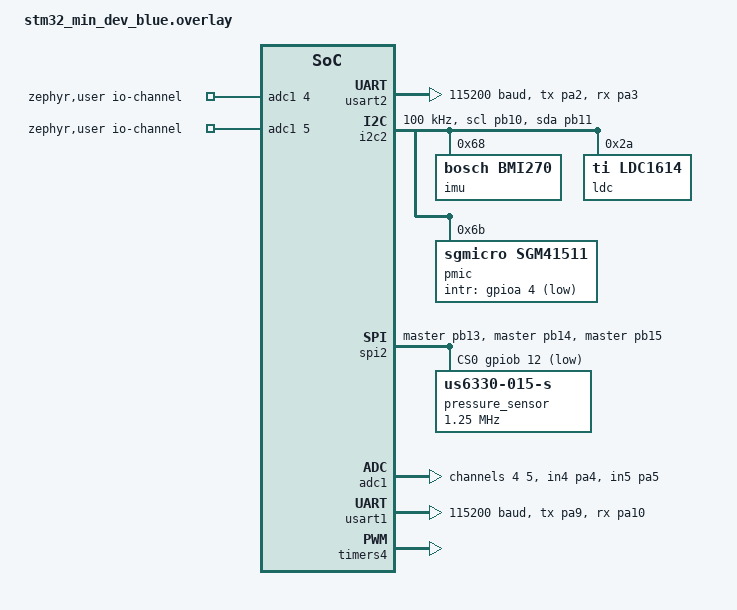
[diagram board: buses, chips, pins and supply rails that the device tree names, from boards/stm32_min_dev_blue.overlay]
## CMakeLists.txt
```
# SPDX-License-Identifier: Apache-2.0

cmake_minimum_required(VERSION 3.20.0)

#set(CMAKE_C_FLAGS "${CMAKE_C_FLAGS} -save-temps=obj")
set(BOARD_ROOT ${CMAKE_CURRENT_LIST_DIR})

find_package(Zephyr REQUIRED HINTS $ENV{ZEPHYR_BASE})
project(FlexPAL)

target_include_directories(app PRIVATE ${ZEPHYR_BASE}/include/zephyr)

target_include_directories(app PRIVATE 
    src/app/sensor
    src/app/uart_handle
    src/app/esp_wifi
    src/lib/imu
    src/lib/pressure_sensor
    src/lib/pump_ctrl
    src/lib/flash_rw
    src/lib/adc
    src/lib/ldc
    src/lib/pid
    src/util/logging
    src/util
)


FILE(GLOB app src/app/*/*.c)
FILE(GLOB lib src/lib/*/*.c)

# target_sources(app PRIVATE ${app})
# target_sources(app PRIVATE ${lib})
target_sources(app PRIVATE src/main.c)
```

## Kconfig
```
mainmenu "main kconfig menu"

config PRESSURE_SENSOR_ADJUST
	int "Pressure sensor adjust value"
	default 100
	help
	  This macro represents the calibration value of the pressure sensor.

rsource "src/dev/sgm41511/Kconfig"
source "Kconfig.zephyr"
```

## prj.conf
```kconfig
# has been enable for defconfig
# CONFIG_CONSOLE=y
# CONFIG_SERIAL=y
# CONFIG_UART_CONSOLE=y
# CONFIG_GPIO=y

CONFIG_PRINTK=y
CONFIG_STDOUT_CONSOLE=y

CONFIG_I2C=y
CONFIG_SENSOR=y
# CONFIG_MPU6050_TRIGGER_NONE=y
CONFIG_CBPRINTF_FP_SUPPORT=y
CONFIG_LM75=y

# CONFIG_SPI=y

CONFIG_PWM=y

# Please manually calibrate the sensor here 
# sensor_real_value = raw_value - sensor_adjust
CONFIG_PRESSURE_SENSOR_ADJUST=0

CONFIG_REBOOT=y

CONFIG_FLASH=y

# CONFIG_ADC=y

CONFIG_ESP32_WIFI_STA_AUTO_DHCPV4=y

# 尽可能早的初始化console，可以打印出boot信息
CONFIG_EARLY_CONSOLE=y

CONFIG_NETWORKING=y
CONFIG_TEST_RANDOM_GENERATOR=y

CONFIG_MAIN_STACK_SIZE=5200
CONFIG_SHELL_STACK_SIZE=5200
CONFIG_NET_TX_STACK_SIZE=2048
CONFIG_NET_RX_STACK_SIZE=2048

CONFIG_NET_PKT_RX_COUNT=10
CONFIG_NET_PKT_TX_COUNT=10
CONFIG_NET_BUF_RX_COUNT=20
CONFIG_NET_BUF_TX_COUNT=20
CONFIG_NET_MAX_CONTEXTS=10
CONFIG_NET_DHCPV4=y

CONFIG_NET_IPV4=y
CONFIG_NET_IPV6=n

CONFIG_NET_TCP=y

CONFIG_LOG=y

CONFIG_NET_LOG=y
CONFIG_INIT_STACKS=y

CONFIG_KERNEL_SHELL=y
CONFIG_NET_SHELL=y
CONFIG_I2C_SHELL=y

# 启用网络统计信息收集
# CONFIG_NET_STATISTICS=y
# CONFIG_NET_STATISTICS_PERIODIC_OUTPUT=n

CONFIG_WIFI=y
CONFIG_WIFI_LOG_LEVEL_ERR=y
CONFIG_NET_L2_WIFI_SHELL=y
# printing of scan results puts pressure on queues in new locking
# design in net_mgmt. So, use a higher timeout for a crowded
# environment.
# Timeout for event queue
CONFIG_NET_MGMT_EVENT_QUEUE_TIMEOUT=5000
CONFIG_NET_MGMT_EVENT_QUEUE_SIZE=16
```

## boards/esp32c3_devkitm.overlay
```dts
/*
 * SPDX-License-Identifier: Apache-2.0
 *
 * Copyright (c) 2021 Andrei-Edward Popa
 * Copyright (c) 2022 Espressif Systems (Shanghai) Co., Ltd.
 */

#include <zephyr/dt-bindings/pwm/pwm.h>
#include <dt-bindings/pinctrl/esp32c3-pinctrl.h>

// gpio2 gpio3 gpio8 gpio9 用于boot启动选择，建议不要使用

/ {
	aliases {
		pwm-led0 = &pwm_led;
	};

	pwmleds {
		compatible = "pwm-leds";
		pwm_led: pwm_led_gpio0_4 {
			label = "PWM LED0";
			pwms = <&ledc0 0 1000 PWM_POLARITY_NORMAL>;
		};
	};
	// esp32的adc不稳，使用i2c adc芯片
	// zephyr,user {
	// 	io-channels = <&adc0 0>, <&adc0 1>;
	// };
};

&pinctrl {
	i2c0_default: i2c0_default {
		group1 {
			pinmux = <I2C0_SDA_GPIO0>,
				 <I2C0_SCL_GPIO1>;
			bias-pull-up;
			drive-open-drain;
			output-high;
		};
	};
	ledc0_default: ledc0_default {
		group1 {
			pinmux = <LEDC_CH0_GPIO4>;
			output-enable;
		};
	};
};

&i2c0 {
	status = "okay";
	clock-frequency = <I2C_BITRATE_STANDARD>; // 100k I2C_BITRATE_FAST (400k)
	pinctrl-0 = <&i2c0_default>;
	pinctrl-names = "default";

};

&ledc0 {
	pinctrl-0 = <&ledc0_default>;
	pinctrl-names = "default";
	status = "okay";
	#address-cells = <1>;
	#size-cells = <0>;
	channel0@0 {
		reg = <0x0>;
		timer = <0>;
	};
};

// &adc0 {
// 	#address-cells = <1>;
// 	#size-cells = <0>;
// 	status = "okay";

// 	channel@0 {
// 		reg = <0>;
// 		zephyr,gain = "ADC_GAIN_1";
// 		zephyr,reference = "ADC_REF_INTERNAL";
// 		zephyr,acquisition-time = <ADC_ACQ_TIME_DEFAULT>;
// 		zephyr,resolution = <12>;
// 	};

// 	channel@1 {
// 		reg = <1>;
// 		zephyr,gain = "ADC_GAIN_1";
// 		zephyr,reference = "ADC_REF_INTERNAL";
// 		zephyr,acquisition-time = <ADC_ACQ_TIME_DEFAULT>;
// 		zephyr,resolution = <12>;
// 	};
// };
```

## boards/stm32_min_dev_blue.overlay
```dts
/ {
	/delete-node/ leds;
	/delete-node/ aliases;
};
&usart2 {
	status = "disabled";
};

&usart3 {
	status = "disabled";
};

&i2c1 {
	status = "disabled";
};

&i2c2 {
	status = "disabled";
};

&spi1 {
	status = "disabled";
};

&spi2 {
	status = "disabled";
};

&timers1 {
	status = "disabled";
};

zephyr_udc0: &usb {
	status = "disabled";
};

&adc1 {
	status = "disabled";
};

/***** 上面均为dtsi中适配的外设，防止GPIO复用重复，全部disable ******/
/ {

	aliases {
		uart1 = &usart1;
		uart2 = &usart2;
	};
	chosen {
		zephyr,code-partition = &app_partition;
	};
	zephyr,user {
		io-channels = <&adc1 4>, <&adc1 5>;
	};
};

&usart1 {
	pinctrl-0 = <&usart1_tx_pa9 &usart1_rx_pa10>;
	current-speed = <115200>;
	pinctrl-names = "default";
	status = "okay";
};

&usart2 {
	pinctrl-0 = <&usart2_tx_pa2 &usart2_rx_pa3>;
	current-speed = <115200>;
	pinctrl-names = "default";
	status = "okay";
};

&i2c2 {
	pinctrl-0 = <&i2c2_scl_pb10 &i2c2_sda_pb11>;
	pinctrl-names = "default";
	status = "okay";
	clock-frequency = <I2C_BITRATE_STANDARD>;

	imu: bmi270@68 {
		compatible = "bosch,bmi270";
		reg = <0x68>;
	};
	ldc: ldc1612@2a {
		compatible = "ti,ldc1614";
		reg = <0x2a>;
		status = "okay";
	};
	pmic: sgm41511@6b {
		compatible = "sgmicro,sgm41511";
		reg = <0x6b>;
		status = "okay";

		intr-gpios = <&gpioa 4 GPIO_ACTIVE_LOW>;    // 中断引脚，开漏输出
	};
};


&spi2 {
	status = "okay";
	pinctrl-0 = <&spi2_sck_master_pb13
	&spi2_miso_master_pb14 &spi2_mosi_master_pb15>;
	pinctrl-names = "default";

	cs-gpios =  <&gpiob 12  GPIO_ACTIVE_LOW>;

	pressure_sensor: sensor@0 {
		status = "okay";
		compatible = "us6330-015-s";
		reg = <0>;
		spi-max-frequency = <1250000>;
	};
};

&timers4 {
	status = "okay";

	pump: pwm {
		status = "okay";
		// pinctrl-0 = <&tim4_ch1_pwm_out_pb6 &tim4_ch2_pwm_out_pb7 &tim4_ch3_pwm_out_pb8>;
		pinctrl-0 = <&tim4_ch2_pwm_out_pb7>;
		pinctrl-names = "default";
	};
};

&flash0 {
	partitions {
		compatible = "fixed-partitions";
		#address-cells = <1>;
		#size-cells = <1>;

		/* stm32f103 flash a section is 1KB !!! */
		/* 各个flash分区必须是8k的倍数,总共64K */
		
		app_partition: partition@0 {
			label = "app";
			reg = <0x0000 DT_SIZE_K(63)>;
		};

		/* rw partition: 1KB for store data */
		rw_partition: partition@FC00 {
			label = "rw";
			reg = <0xfc00 DT_SIZE_K(1)>;
		};		
	};
};

&adc1 {
	pinctrl-0 = <&adc1_in4_pa4 &adc1_in5_pa5>;
	pinctrl-names = "default";
	status = "okay";

	#address-cells = <1>;
	#size-cells = <0>;

	channel@4 {
		reg = <4>;
		zephyr,gain = "ADC_GAIN_1";
		zephyr,reference = "ADC_REF_INTERNAL";
		zephyr,acquisition-time = <ADC_ACQ_TIME_DEFAULT>;
		zephyr,resolution = <12>;
	};
	channel@5 {
		reg = <5>;
		zephyr,gain = "ADC_GAIN_1";
		zephyr,reference = "ADC_REF_INTERNAL";
		zephyr,acquisition-time = <ADC_ACQ_TIME_DEFAULT>;
		zephyr,resolution = <12>;
	};
};

&gpioa {
	status = "okay";
};

&gpiob {
	status = "okay";
};
```

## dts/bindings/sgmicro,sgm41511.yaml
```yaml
# dts/bindings/sensor/sgmicro,sgm41511.yaml
description: SGM41511 Battery Charger

compatible: "sgmicro,sgm41511"

include:
  - i2c-device.yaml

properties:
  ce-gpios:
    type: phandle-array
    required: false
    description: Charge Enable GPIO (Active Low)

  intr-gpios:
    type: phandle-array
    required: false
    description: Interrupt GPIO

  psel-gpios:
    type: phandle-array
    required: false
    description: Power Source Selection GPIO
```

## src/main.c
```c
#include <stdio.h>

#include <zephyr/kernel.h>

#include "uart_handle.h"
#include "esp_wifi.h"
#include "sensor.h"
#include "flash_rw.h"
#include "ldc161x.h"
#include "pid.h"

int main(void)
{
	// LDC161x_init();
	// flash_rw_init();
	// pid_init();
	// uart_thread_init();
	// esp_wifi_init(); 

	return 0;
}
```
